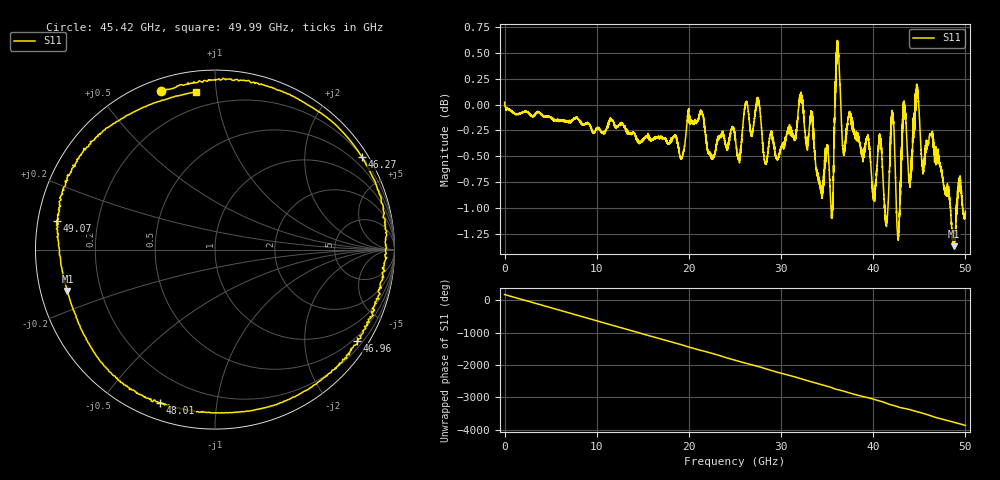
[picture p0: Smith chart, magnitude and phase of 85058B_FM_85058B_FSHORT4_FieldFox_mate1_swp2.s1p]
!Created with skrf (http://scikit-rf.org).
# Hz S RI R 50.0
!freq ReS11 ImS11
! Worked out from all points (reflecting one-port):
!   10000 points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, 5.3 MHz to 50 GHz, reference 50 ohm
!   lowest |S11| = -1.4 dB at 48.74 GHz (marker M1), VSWR 12.68, Z = 4.02 - j6.82 ohm
!   phase of S11 starts at 180 deg and turns -4044 deg over the sweep
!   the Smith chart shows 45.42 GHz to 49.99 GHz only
!   S11 on the Smith chart (normalised r, x): 45.42 GHz: 0.05, +0.71; 46.27 GHz: 0.22, +3.44; 46.96 GHz: 0.38, -3.38; 48.01 GHz: 0.07, -0.70; 49.07 GHz: 0.06, +0.09; 49.99 GHz: 0.11, +0.88
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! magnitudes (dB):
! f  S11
! 5.3 MHz  0.0
! 6.255 GHz  -0.2
! 12.51 GHz  -0.2
! 18.76 GHz  -0.4
! 25.01 GHz  -0.3
! 27.47 GHz  0.0
! 31.26 GHz  -0.3
! 32.18 GHz  0.0
! 35.47 GHz  -1.1
! 36.11 GHz  0.5
! 36.79 GHz  -0.5
! 37.51 GHz  -0.1
! 40.07 GHz  -0.9
! 40.75 GHz  -0.3
! 41.4 GHz  -1.1
! 42.07 GHz  -0.1
! 42.68 GHz  -1.3
! 43.32 GHz  0.0
! 43.76 GHz  -0.6
! 44.76 GHz  0.1
! 45.42 GHz  -0.6
! 46.27 GHz  -0.3
! 46.96 GHz  -0.5
! 48.01 GHz  -0.8
! 48.74 GHz  -1.4
! 49.07 GHz  -1.0
! 49.99 GHz  -1.1
! 50 GHz  -1.0
